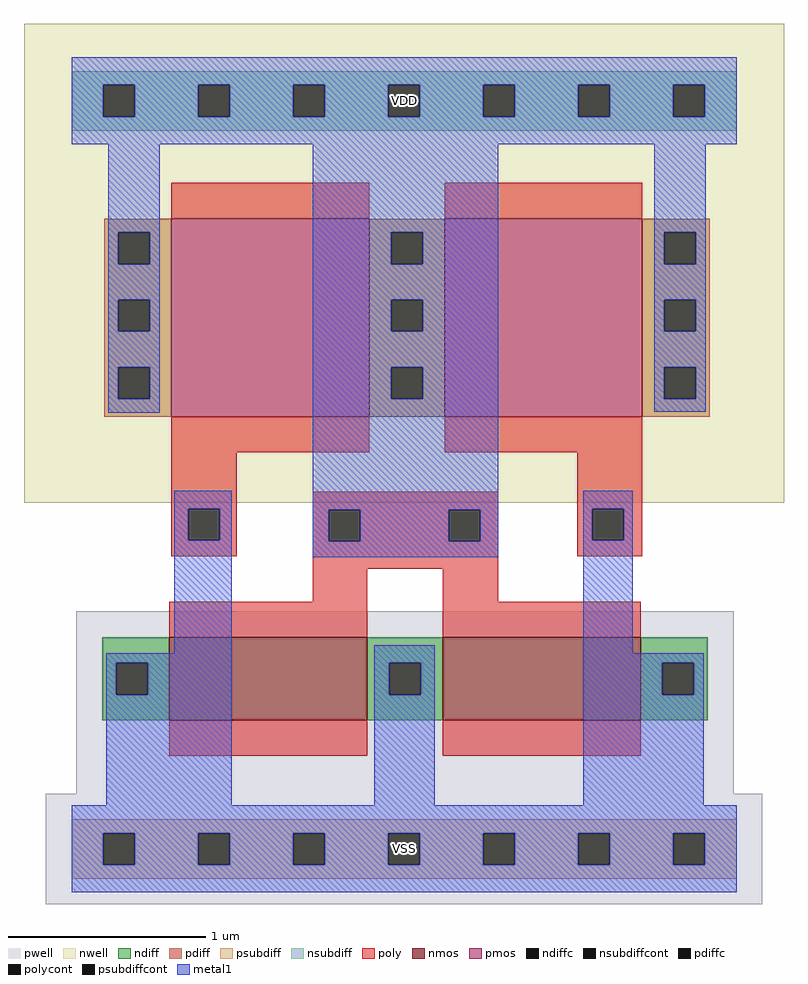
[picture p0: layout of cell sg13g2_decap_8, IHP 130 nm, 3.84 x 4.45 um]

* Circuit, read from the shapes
.subckt sg13g2_decap_8 VDD VSS
XM1 VSS VDD VSS VSS sg13_lv_nmos w=0.42u l=1u m=2
XM2 VDD VSS VDD VDD sg13_lv_pmos w=1u l=1u m=2
.ends

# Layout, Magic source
magic
tech ihp-sg13g2
magscale 1 2
<< nwell >>
rect -48 350 720 834
<< pwell >>
rect 5 56 669 240
rect -26 -56 698 56
<< nmos >>
rect 99 130 299 214
rect 375 130 575 214
<< pmos >>
rect 101 437 301 637
rect 377 437 577 637
<< ndiff >>
rect 31 188 99 214
rect 31 156 45 188
rect 77 156 99 188
rect 31 130 99 156
rect 299 188 375 214
rect 299 156 321 188
rect 353 156 375 188
rect 299 130 375 156
rect 575 188 643 214
rect 575 156 597 188
rect 629 156 643 188
rect 575 130 643 156
<< pdiff >>
rect 33 623 101 637
rect 33 591 47 623
rect 79 591 101 623
rect 33 555 101 591
rect 33 523 47 555
rect 79 523 101 555
rect 33 487 101 523
rect 33 455 47 487
rect 79 455 101 487
rect 33 437 101 455
rect 301 623 377 637
rect 301 591 323 623
rect 355 591 377 623
rect 301 555 377 591
rect 301 523 323 555
rect 355 523 377 555
rect 301 487 377 523
rect 301 455 323 487
rect 355 455 377 487
rect 301 437 377 455
rect 577 623 645 637
rect 577 591 599 623
rect 631 591 645 623
rect 577 555 645 591
rect 577 523 599 555
rect 631 523 645 555
rect 577 487 645 523
rect 577 455 599 487
rect 631 455 645 487
rect 577 437 645 455
<< ndiffc >>
rect 45 156 77 188
rect 321 156 353 188
rect 597 156 629 188
<< pdiffc >>
rect 47 591 79 623
rect 47 523 79 555
rect 47 455 79 487
rect 323 591 355 623
rect 323 523 355 555
rect 323 455 355 487
rect 599 591 631 623
rect 599 523 631 555
rect 599 455 631 487
<< psubdiff >>
rect 0 16 672 30
rect 0 -16 32 16
rect 64 -16 128 16
rect 160 -16 224 16
rect 256 -16 320 16
rect 352 -16 416 16
rect 448 -16 512 16
rect 544 -16 608 16
rect 640 -16 672 16
rect 0 -30 672 -16
<< nsubdiff >>
rect 0 772 672 786
rect 0 740 32 772
rect 64 740 128 772
rect 160 740 224 772
rect 256 740 320 772
rect 352 740 416 772
rect 448 740 512 772
rect 544 740 608 772
rect 640 740 672 772
rect 0 726 672 740
<< psubdiffcont >>
rect 32 -16 64 16
rect 128 -16 160 16
rect 224 -16 256 16
rect 320 -16 352 16
rect 416 -16 448 16
rect 512 -16 544 16
rect 608 -16 640 16
<< nsubdiffcont >>
rect 32 740 64 772
rect 128 740 160 772
rect 224 740 256 772
rect 320 740 352 772
rect 416 740 448 772
rect 512 740 544 772
rect 608 740 640 772
<< poly >>
rect 101 637 301 673
rect 377 637 577 673
rect 101 401 301 437
rect 377 401 577 437
rect 101 344 167 401
rect 101 312 118 344
rect 150 312 167 344
rect 101 296 167 312
rect 244 343 431 361
rect 244 311 260 343
rect 292 311 381 343
rect 413 311 431 343
rect 244 283 431 311
rect 511 344 577 401
rect 511 312 526 344
rect 558 312 577 344
rect 511 296 577 312
rect 244 250 299 283
rect 99 214 299 250
rect 375 250 431 283
rect 375 214 575 250
rect 99 94 299 130
rect 375 94 575 130
<< polycont >>
rect 118 312 150 344
rect 260 311 292 343
rect 381 311 413 343
rect 526 312 558 344
<< metal1 >>
rect 0 772 672 800
rect 0 740 32 772
rect 64 740 128 772
rect 160 740 224 772
rect 256 740 320 772
rect 352 740 416 772
rect 448 740 512 772
rect 544 740 608 772
rect 640 740 672 772
rect 0 712 672 740
rect 37 623 89 712
rect 37 591 47 623
rect 79 591 89 623
rect 37 555 89 591
rect 37 523 47 555
rect 79 523 89 555
rect 37 487 89 523
rect 37 455 47 487
rect 79 455 89 487
rect 37 441 89 455
rect 244 623 431 712
rect 244 591 323 623
rect 355 591 431 623
rect 244 555 431 591
rect 244 523 323 555
rect 355 523 431 555
rect 244 487 431 523
rect 244 455 323 487
rect 355 455 431 487
rect 104 344 162 362
rect 104 312 118 344
rect 150 312 162 344
rect 104 198 162 312
rect 244 343 431 455
rect 589 623 641 712
rect 589 591 599 623
rect 631 591 641 623
rect 589 555 641 591
rect 589 523 599 555
rect 631 523 641 555
rect 589 487 641 523
rect 589 455 599 487
rect 631 455 641 487
rect 589 442 641 455
rect 244 311 260 343
rect 292 311 381 343
rect 413 311 431 343
rect 244 295 431 311
rect 517 344 567 362
rect 517 312 526 344
rect 558 312 567 344
rect 35 188 162 198
rect 35 156 45 188
rect 77 156 162 188
rect 35 44 162 156
rect 306 188 367 206
rect 306 156 321 188
rect 353 156 367 188
rect 306 44 367 156
rect 517 198 567 312
rect 517 188 639 198
rect 517 156 597 188
rect 629 156 639 188
rect 517 44 639 156
rect 0 16 672 44
rect 0 -16 32 16
rect 64 -16 128 16
rect 160 -16 224 16
rect 256 -16 320 16
rect 352 -16 416 16
rect 448 -16 512 16
rect 544 -16 608 16
rect 640 -16 672 16
rect 0 -44 672 -16
<< labels >>
flabel metal1 s 0 712 672 800 0 FreeSans 400 0 0 0 VDD
port 2 nsew
flabel metal1 s 0 -44 672 44 0 FreeSans 400 0 0 0 VSS
port 3 nsew
<< properties >>
string FIXED_BBOX 0 0 672 756
string GDS_END 237014
string GDS_FILE 6_final.gds
string GDS_START 233658
<< end >>
